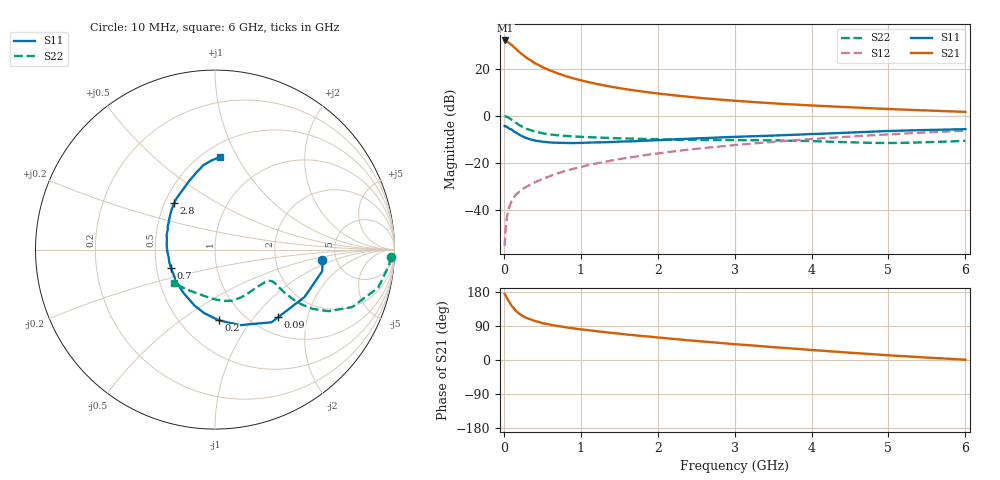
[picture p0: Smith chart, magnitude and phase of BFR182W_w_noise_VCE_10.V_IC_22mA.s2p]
! Infineon Technologies  Discrete & RF Semiconductors
! BFR182W
! VCE =  10. V,  IC =  22 mA
! Common Emitter S-Parameters:  Jan 2017
# GHz  S  MA  R  50
!  f  S11  S21  S12  S22
! GHz  MAG  ANG  MAG  ANG  MAG  ANG  MAG  ANG
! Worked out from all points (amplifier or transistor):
!   77 points, 10 MHz to 6 GHz, reference 50 ohm
!   highest |S21| = 31.9 dB at 20 MHz (marker M1)
!   |S21| within 3 dB of that: start of sweep to 137.5 MHz
!   unconditionally stable (mu >= 1): 837.8 MHz to 2.37 GHz
!   at 130 MHz: K = 0.44, MSG = 31.9 dB, |S12| = -34.7 dB
!   at 2.2 GHz: K = 1.01, MAG = 11.3 dB, |S12| = -15.2 dB
!   at 6 GHz: K = 0.86, MSG = 4.0 dB, |S12| = -6.4 dB
!   lowest NFmin = 1.47 dB at 450 MHz
!   S11 on the Smith chart (normalised r, x): 10 MHz: 3.88, -0.67; 90 MHz: 1.31, -1.34; 200 MHz: 0.76, -0.71; 700 MHz: 0.59, -0.13; 2.8 GHz: 0.56, +0.33; 6 GHz: 0.60, +0.85
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0.01  0.6008 -5.3  39.41 174.5  0.0017 83.3  0.9822 -2.4
0.02  0.6098 -11.3  39.49 171.0  0.0033 89.2  0.9721 -5.4
0.05  0.5649 -27.8  36.93 159.6  0.0087 78.8  0.9337 -13.1
0.09  0.5156 -46.9  32.72 146.9  0.0139 72.6  0.8472 -20.7
0.1  0.5131 -52.1  31.96 143.2  0.0152 71.7  0.8282 -22.8
0.15  0.4441 -71.4  26.8 131.0  0.0206 65.9  0.7192 -28.5
0.2  0.3949 -86.9  22.57 122.2  0.0245 66.7  0.6348 -31.3
0.25  0.3582 -99.9  19.32 115.3  0.0282 64.5  0.5715 -32.3
0.3  0.3314 -110.3  16.72 110.4  0.0314 65.5  0.5225 -32.5
0.4  0.2981 -126.4  13.15 102.9  0.0382 67.0  0.4613 -31.9
0.5  0.2808 -139.3  10.77 97.6  0.045 68.6  0.4238 -30.9
0.6  0.2699 -149.2  9.125 93.3  0.0522 68.5  0.3999 -30.0
0.7  0.2659 -157.8  7.892 89.8  0.0596 70.4  0.3843 -29.3
0.9  0.2617 -170.9  6.215 83.6  0.0743 70.8  0.3634 -29.1
1.1  0.2681 178.4  5.154 78.6  0.0895 71.1  0.3504 -29.8
1.5  0.2816 163.2  3.845 69.5  0.1195 70.2  0.3312 -33.4
2.1  0.3072 145.8  2.835 57.7  0.1659 67.2  0.3128 -42.9
2.8  0.3448 131.2  2.201 45.2  0.2211 62.5  0.304 -57.4
3.1  0.3596 125.5  2.023 40.3  0.2453 60.2  0.3019 -63.4
4.1  0.413 109.5  1.618 25.0  0.3275 51.8  0.285 -83.9
5.1  0.4784 96.8  1.364 11.2  0.409 42.5  0.2638 -113.7
6  0.5171 86.9  1.203 0.7  0.4795 33.5  0.2933 -141.0
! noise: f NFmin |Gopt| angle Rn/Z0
0.45  1.47  0.13  -172  0.15
0.9  1.55  0.14  -167  0.15
1.9  2.06  0.29  -141  0.17
2.4  2.34  0.31  -127  0.27
